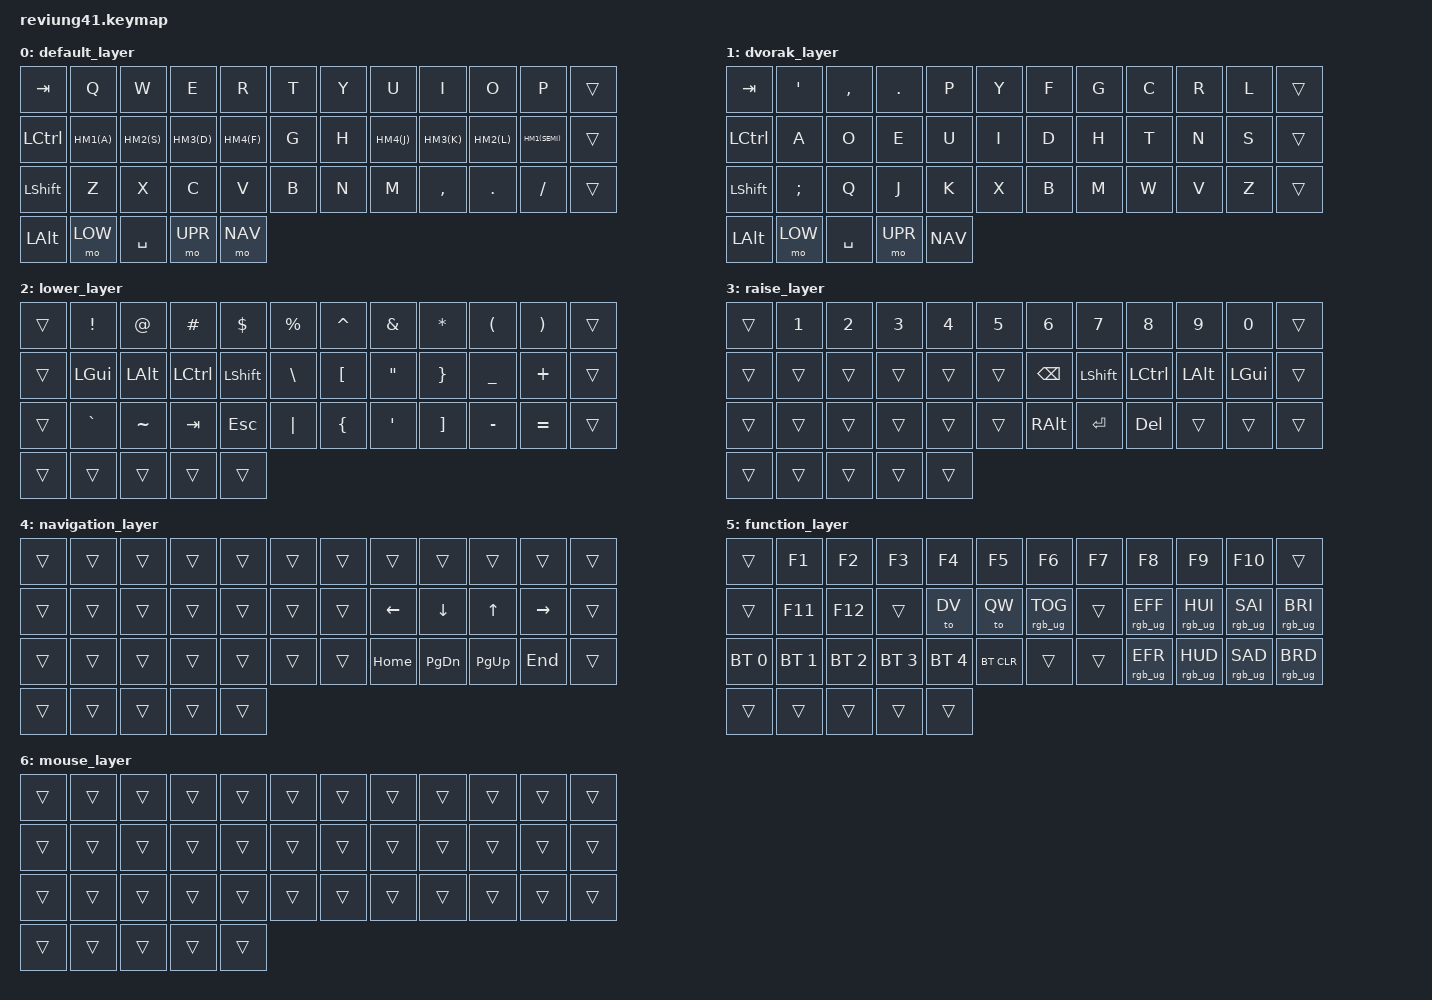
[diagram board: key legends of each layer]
/*
 * Copyright (c) 2020 The ZMK Contributors
 *
 * SPDX-License-Identifier: MIT
 */

#include <behaviors.dtsi>
#include <dt-bindings/zmk/keys.h>
#include <dt-bindings/zmk/bt.h>
#include <dt-bindings/zmk/rgb.h>
#include <dt-bindings/led/led.h>

&spi1 {
	compatible = "nordic,nrf-spim";
	status = "okay";
	mosi-pin = <6>;
	// Unused pins, needed for SPI definition, but not used by the ws2812 driver itself.
	sck-pin = <5>;
	miso-pin = <7>;

	led_strip: ws2812@0 {
		compatible = "worldsemi,ws2812-spi";
		label = "WS2812";

		/* SPI */
		reg = <0>; /* ignored, but necessary for SPI bindings */
		spi-max-frequency = <4000000>;

		/* WS2812 */
		chain-length = <11>; /* arbitrary; change at will */
		spi-one-frame = <0x70>;
		spi-zero-frame = <0x40>;
		color-mapping = <LED_COLOR_ID_GREEN LED_COLOR_ID_RED LED_COLOR_ID_BLUE>;
	};
};

/ {
	chosen {
		zmk,underglow = &led_strip;
	};
};

#define QW     0
#define DV     1
#define LOW    2
#define UPR    3
#define NAV    4
#define FN     5
#define MOUSE  6

#define HM1(k) hm_slow LGUI  k
#define HM2(k) hm_med LALT  k
#define HM3(k) hm_med LCTL  k
#define HM4(k) hm_fast LSHFT k
// #define HM1(k) kp k
// #define HM2(k) kp k
// #define HM3(k) kp k
// #define HM4(k) kp k

&caps_word {
    continue-list = <UNDERSCORE MINUS>;
};

/ {
    behaviors {
        hm_slow: homerow_mods {
            compatible = "zmk,behavior-hold-tap";
            label = "HOMEROW_MODS";
            #binding-cells = <2>;
            tapping-term-ms = <250>;
            quick-tap-ms = <250>;
            flavor = "tap-preferred";
            bindings = <&kp>, <&kp>;
        };
        hm_med: homerow_mods {
            compatible = "zmk,behavior-hold-tap";
            label = "HOMEROW_MODS";
            #binding-cells = <2>;
            tapping-term-ms = <200>;
            quick-tap-ms = <200>;
            flavor = "tap-preferred";
            bindings = <&kp>, <&kp>;
        };
        hm_fast: homerow_mods {
            compatible = "zmk,behavior-hold-tap";
            label = "HOMEROW_MODS";
            #binding-cells = <2>;
            tapping-term-ms = <100>;
            quick-tap-ms = <100>;
            flavor = "tap-preferred";
            bindings = <&kp>, <&kp>;
        };
    };

    conditional_layers {
        compatible = "zmk,conditional-layers";
        tri_layer {
            if-layers = <LOW UPR>;
            then-layer = <FN>;
        };
    };

    keymap {
        compatible = "zmk,keymap";

        default_layer {
// This is a "QWERTY" keymap, but it's really intended to be used in dvorak mode
// (with setxkbmap us -variant dvorak -option compose:ralt).
            bindings = <
&kp TAB   &kp Q       &kp W     &kp E     &kp R     &kp T     &kp Y     &kp U     &kp I     &kp O     &kp P      &trans
&kp LCTRL &HM1(A)     &HM2(S)   &HM3(D)   &HM4(F)   &kp G     &kp H     &HM4(J)   &HM3(K)   &HM2(L)   &HM1(SEMI) &trans
&kp LSHFT &kp Z       &kp X     &kp C     &kp V     &kp B     &kp N     &kp M     &kp COMMA &kp DOT   &kp SLASH  &trans

&kp LALT  &mo LOW     &kp SPACE &mo UPR   &mo NAV
            >;
        };

        dvorak_layer {
        // DV - Dvorak layer
            bindings = <
   &kp TAB   &kp SQT  &kp COMMA &kp DOT &kp P &kp Y   &kp F &kp G  &kp C &kp R &kp L &trans
   &kp LCTRL &kp A    &kp O     &kp   E &kp U &kp I   &kp D &kp H  &kp T &kp N &kp S &trans
   &kp LSHFT &kp SEMI &kp Q     &kp   J &kp K &kp X   &kp B &kp M  &kp W &kp V &kp Z &trans
                              &kp LALT &mo LOW &kp SPACE &mo UPR &kp NAV
            >;
        };

                lower_layer {
                        bindings = <
&trans    &kp EXCL    &kp AT    &kp HASH  &kp DLLR  &kp PRCNT &kp CARET &kp AMPS  &kp STAR  &kp LPAR  &kp RPAR   &trans
&trans    &kp LGUI    &kp LALT  &kp LCTL  &kp LSHFT &kp BSLH  &kp LBKT  &kp DQT   &kp RBRC  &kp UNDER &kp PLUS   &trans
&trans    &kp GRAVE   &kp TILDE &kp TAB   &kp ESC   &kp PIPE  &kp LBRC  &kp SQT   &kp RBKT  &kp MINUS &kp EQUAL  &trans

&trans      &trans       &trans        &trans       &trans
                        >;
                };

                raise_layer {
                        bindings = <
&trans    &kp N1      &kp N2    &kp N3    &kp N4    &kp N5    &kp N6    &kp N7    &kp N8    &kp N9    &kp N0     &trans
&trans    &trans      &trans    &trans    &trans    &trans    &kp BSPC  &kp LSHFT &kp LCTL  &kp LALT  &kp LGUI   &trans
&trans    &trans      &trans    &trans    &trans    &trans    &kp RALT  &kp RET   &kp DEL   &trans    &trans     &trans

&trans      &trans       &trans        &trans       &trans
                        >;
                };

                navigation_layer {
                        bindings = <
&trans    &trans      &trans    &trans    &trans    &trans    &trans    &trans    &trans    &trans    &trans     &trans
&trans    &trans      &trans    &trans    &trans    &trans    &trans    &kp LEFT  &kp DOWN  &kp UP    &kp RIGHT  &trans
&trans    &trans      &trans    &trans    &trans    &trans    &trans    &kp HOME  &kp PG_DN &kp PG_UP &kp END    &trans

&trans      &trans       &trans        &trans       &trans
                        >;
                };

                function_layer {
                        bindings = <
&trans       &kp F1       &kp F2       &kp F3       &kp F4       &kp F5     &kp F6          &kp F7 &kp F8          &kp F9          &kp F10         &trans
&trans       &kp F11      &kp F12      &trans       &to DV       &to QW     &rgb_ug RGB_TOG &trans &rgb_ug RGB_EFF &rgb_ug RGB_HUI &rgb_ug RGB_SAI &rgb_ug RGB_BRI
&bt BT_SEL 0 &bt BT_SEL 1 &bt BT_SEL 2 &bt BT_SEL 3 &bt BT_SEL 4 &bt BT_CLR &trans          &trans &rgb_ug RGB_EFR &rgb_ug RGB_HUD &rgb_ug RGB_SAD &rgb_ug RGB_BRD

&trans      &trans       &trans        &trans       &trans
                        >;
                };

                mouse_layer {
                // Waiting for https://github.com/zmkfirmware/zmk/pull/778
                        bindings = <
&trans &trans &trans &trans &trans &trans &trans &trans &trans &trans &trans &trans
&trans &trans &trans &trans &trans &trans &trans &trans &trans &trans &trans &trans
&trans &trans &trans &trans &trans &trans &trans &trans &trans &trans &trans &trans

&trans      &trans       &trans        &trans       &trans
                        >;
                };


//                adjust_layer {
// -----------------------------------------------------------------------------------------
// | RGB BRI+ | RGB SAT+ | RGB HUE+ | RGB ANI+ |    | RGB TOG |   |  BT1  | BT2 | BT3 | BT4 | BT5 | BT CLR |
// | RGB BRI- | RGB SAT- | RGB HUE- | RGB ANI- |    |         |   |       |     |     |     |     |        |
// |          |          |          |          |    |         |   | RESET |     |     |     |     |        |
//                                              |     |     |     |     |     |
//                        bindings = <
//   &rgb_ug RGB_BRI &rgb_ug RGB_SAI &rgb_ug RGB_HUI &rgb_ug RGB_EFF &none &rgb_ug RGB_TOG    &bt BT_SEL 0 &bt BT_SEL 1 &bt BT_SEL 2 &bt BT_SEL 3 &bt BT_SEL 4 &bt BT_CLR
//   &rgb_ug RGB_BRD &rgb_ug RGB_SAD &rgb_ug RGB_HUD &rgb_ug RGB_EFR &none &none              &none        &none        &none        &none        &none        &none
//   &none           &none           &none           &none           &none &none              &reset       &none        &none        &none        &none        &none
//                                                             &trans      &trans       &tog 3        &trans      &trans
//                        >;
//                };
//        };
   };
};
